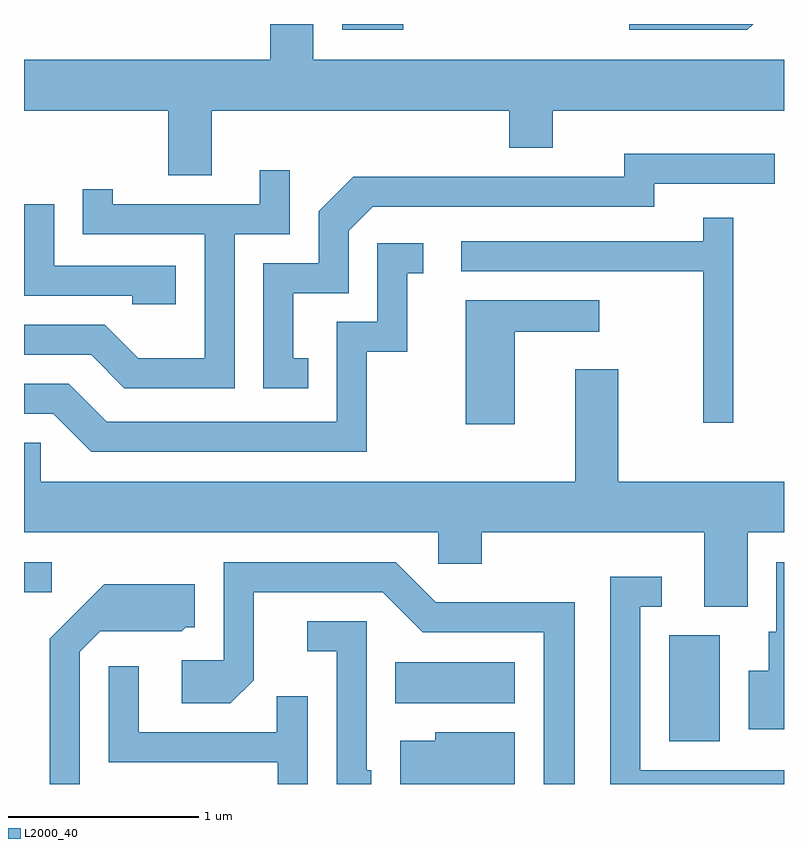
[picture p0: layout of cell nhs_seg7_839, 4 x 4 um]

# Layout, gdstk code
import gdstk
lib = gdstk.Library(unit=1e-6, precision=1e-09)
def R(c, l, rs):  # rectangles x0, y0, x1, y1
    for r in rs: c.add(gdstk.rectangle(r[:2], r[2:], *l))
def P(c, l, *ps):  # polygons
    for p in ps: c.add(gdstk.Polygon(p, *l))
L2000_40 = (2000, 40)

nhs_seg7_839 = lib.new_cell('nhs_seg7_839')
R(nhs_seg7_839, L2000_40, [(213.006,1786.476,213.274,1787.034), (211.566,1786.676,212.194,1786.894), (209.611,1787.261,209.758,1787.419), (211.286,1790.221,211.608,1790.252)])
P(nhs_seg7_839, L2000_40, [(210.599,1789.796),(212.166,1789.796),(212.166,1789.601),(212.394,1789.601),(212.394,1789.796),(213.611,1789.796),(213.611,1790.064),(211.134,1790.064),(211.134,1790.252),(210.906,1790.252),(210.906,1790.064),(209.611,1790.064),(209.611,1789.796),(210.371,1789.796),(210.371,1789.456),(210.599,1789.456)],
  [(213.448,1790.252),(212.796,1790.252),(212.796,1790.221),(213.417,1790.221)],
  [(211.108,1788.494),(211.029,1788.494),(211.029,1788.836),(211.319,1788.836),(211.319,1789.164),(211.447,1789.291),(212.929,1789.291),(212.929,1789.411),(213.563,1789.411),(213.563,1789.569),(212.771,1789.569),(212.771,1789.449),(211.344,1789.449),(211.161,1789.267),(211.161,1788.994),(210.871,1788.994),(210.871,1788.336),(211.108,1788.336)],
  [(210.719,1789.146),(211.009,1789.146),(211.009,1789.483),(210.851,1789.483),(210.851,1789.304),(210.079,1789.304),(210.079,1789.383),(209.921,1789.383),(209.921,1789.146),(210.561,1789.146),(210.561,1788.494),(210.212,1788.494),(210.037,1788.669),(209.611,1788.669),(209.611,1788.511),(209.964,1788.511),(210.139,1788.336),(210.719,1788.336)],
  [(210.409,1788.979),(209.769,1788.979),(209.769,1789.304),(209.611,1789.304),(209.611,1788.821),(210.181,1788.821),(210.181,1788.776),(210.409,1788.776)],
  [(213.344,1789.233),(213.186,1789.233),(213.186,1789.109),(211.913,1789.109),(211.913,1788.951),(213.186,1788.951),(213.186,1788.153),(213.344,1788.153)],
  [(211.414,1788.526),(211.629,1788.526),(211.629,1788.941),(211.713,1788.941),(211.713,1789.099),(211.471,1789.099),(211.471,1788.684),(211.256,1788.684),(211.256,1788.159),(210.047,1788.159),(209.847,1788.359),(209.611,1788.359),(209.611,1788.201),(209.764,1788.201),(209.964,1788.001),(211.414,1788.001)],
  [(212.194,1788.631),(212.638,1788.631),(212.638,1788.799),(211.936,1788.799),(211.936,1788.146),(212.194,1788.146)],
  [(213.419,1787.576),(213.611,1787.576),(213.611,1787.844),(212.739,1787.844),(212.739,1788.434),(212.511,1788.434),(212.511,1787.844),(209.699,1787.844),(209.699,1788.049),(209.611,1788.049),(209.611,1787.576),(211.791,1787.576),(211.791,1787.411),(212.019,1787.411),(212.019,1787.576),(213.191,1787.576),(213.191,1787.186),(213.419,1787.186)],
  [(213.611,1787.419),(213.571,1787.419),(213.571,1787.054),(213.531,1787.054),(213.531,1786.849),(213.426,1786.849),(213.426,1786.541),(213.611,1786.541)],
  [(212.509,1787.209),(211.777,1787.209),(211.567,1787.419),(210.661,1787.419),(210.661,1786.904),(210.441,1786.904),(210.441,1786.676),(210.697,1786.676),(210.819,1786.799),(210.819,1787.261),(211.499,1787.261),(211.709,1787.051),(212.346,1787.051),(212.346,1786.252),(212.509,1786.252)],
  [(213.611,1786.324),(212.854,1786.324),(212.854,1787.186),(212.968,1787.186),(212.968,1787.344),(212.696,1787.344),(212.696,1786.252),(213.611,1786.252)],
  [(209.904,1786.949),(210.012,1787.056),(210.442,1787.056),(210.462,1787.076),(210.509,1787.076),(210.509,1787.304),(210.034,1787.304),(209.746,1787.017),(209.746,1786.252),(209.904,1786.252)],
  [(211.439,1786.324),(211.414,1786.324),(211.414,1787.109),(211.103,1787.109),(211.103,1786.951),(211.256,1786.951),(211.256,1786.252),(211.439,1786.252)],
  [(211.104,1786.713),(210.941,1786.713),(210.941,1786.524),(210.214,1786.524),(210.214,1786.873),(210.056,1786.873),(210.056,1786.366),(210.946,1786.366),(210.946,1786.252),(211.104,1786.252)],
  [(212.194,1786.524),(211.776,1786.524),(211.776,1786.479),(211.591,1786.479),(211.591,1786.252),(212.194,1786.252)])

lib.write_gds('nhs_seg7_839.gds')
